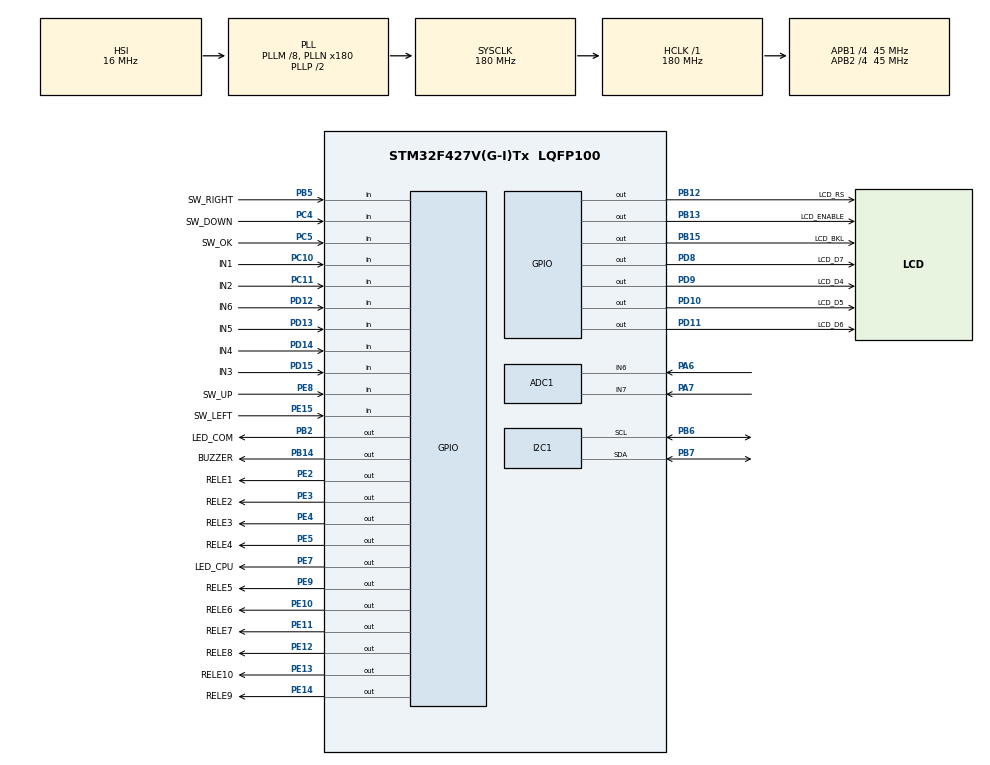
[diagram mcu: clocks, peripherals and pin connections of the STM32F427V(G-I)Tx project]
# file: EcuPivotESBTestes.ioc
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ADC1.Channel-0\#ChannelRegularConversion=ADC_CHANNEL_7
ADC1.ClockPrescaler=ADC_CLOCK_SYNC_PCLK_DIV8
ADC1.ContinuousConvMode=ENABLE
ADC1.DMAContinuousRequests=ENABLE
ADC1.NbrOfConversionFlag=1
ADC1.Rank-0\#ChannelRegularConversion=1
ADC1.SamplingTime-0\#ChannelRegularConversion=ADC_SAMPLETIME_3CYCLES
ADC1.ScanConvMode=ENABLE
ADC1.master=1
Dma.ADC1.0.Direction=DMA_PERIPH_TO_MEMORY
Dma.ADC1.0.FIFOMode=DMA_FIFOMODE_DISABLE
Dma.ADC1.0.Instance=DMA2_Stream0
Dma.ADC1.0.MemDataAlignment=DMA_MDATAALIGN_HALFWORD
Dma.ADC1.0.MemInc=DMA_MINC_ENABLE
Dma.ADC1.0.Mode=DMA_CIRCULAR
Dma.ADC1.0.PeriphDataAlignment=DMA_PDATAALIGN_HALFWORD
Dma.ADC1.0.PeriphInc=DMA_PINC_DISABLE
Dma.ADC1.0.Priority=DMA_PRIORITY_LOW
Dma.Request0=ADC1
IWDG.Prescaler=IWDG_PRESCALER_64
Mcu.Family=STM32F4
Mcu.Name=STM32F427V(G-I)Tx
Mcu.Package=LQFP100
NVIC.ADC_IRQn=true\:0\:0\:false\:false\:true\:true\:true\:true
NVIC.DMA2_Stream0_IRQn=true\:0\:0\:false\:false\:true\:false\:true\:true
NVIC.PriorityGroup=NVIC_PRIORITYGROUP_4
NVIC.TIM3_IRQn=true\:0\:0\:false\:false\:true\:true\:true\:true
PA13.Mode=Serial_Wire
PA13.Signal=SYS_JTMS-SWDIO
PA14.Mode=Serial_Wire
PA14.Signal=SYS_JTCK-SWCLK
PA6.Signal=ADCx_IN6
PA7.Signal=ADCx_IN7
PB12.GPIO_Label=LCD_RS
PB12.Signal=GPIO_Output
PB13.GPIO_Label=LCD_ENABLE
PB13.Signal=GPIO_Output
PB14.GPIO_Label=BUZZER
PB14.Signal=GPIO_Output
PB15.GPIO_Label=LCD_BKL
PB15.Signal=GPIO_Output
PB2/BOOT1.GPIO_Label=LED_COM
PB2/BOOT1.PinState=GPIO_PIN_SET
PB2/BOOT1.Signal=GPIO_Output
PB5.GPIO_Label=SW_RIGHT
PB5.GPIO_PuPd=GPIO_PULLUP
PB5.Signal=GPIO_Input
PB6.Mode=I2C
PB6.Signal=I2C1_SCL
PB7.Mode=I2C
PB7.Signal=I2C1_SDA
PC10.GPIO_Label=IN1
PC10.GPIO_PuPd=GPIO_PULLUP
PC10.Signal=GPIO_Input
PC11.GPIO_Label=IN2
PC11.GPIO_PuPd=GPIO_PULLUP
PC11.Signal=GPIO_Input
PC14/OSC32_IN.Mode=LSE-External-Oscillator
PC14/OSC32_IN.Signal=RCC_OSC32_IN
PC15/OSC32_OUT.Mode=LSE-External-Oscillator
PC15/OSC32_OUT.Signal=RCC_OSC32_OUT
PC4.GPIO_Label=SW_DOWN
PC4.GPIO_PuPd=GPIO_PULLUP
PC4.Signal=GPIO_Input
PC5.GPIO_Label=SW_OK
PC5.GPIO_PuPd=GPIO_PULLUP
PC5.Signal=GPIO_Input
PD10.GPIO_Label=LCD_D5
PD10.Signal=GPIO_Output
PD11.GPIO_Label=LCD_D6
PD11.Signal=GPIO_Output
PD12.GPIO_Label=IN6
PD12.GPIO_PuPd=GPIO_PULLUP
PD12.Signal=GPIO_Input
PD13.GPIO_Label=IN5
PD13.GPIO_PuPd=GPIO_PULLUP
PD13.Signal=GPIO_Input
PD14.GPIO_Label=IN4
PD14.GPIO_PuPd=GPIO_PULLUP
PD14.Signal=GPIO_Input
PD15.GPIO_Label=IN3
PD15.GPIO_PuPd=GPIO_PULLUP
PD15.Signal=GPIO_Input
PD8.GPIO_Label=LCD_D7
PD8.Signal=GPIO_Output
PD9.GPIO_Label=LCD_D4
PD9.Signal=GPIO_Output
PE10.GPIO_Label=RELE6
PE10.Signal=GPIO_Output
PE11.GPIO_Label=RELE7
PE11.Signal=GPIO_Output
PE12.GPIO_Label=RELE8
PE12.Signal=GPIO_Output
PE13.GPIO_Label=RELE10
PE13.Signal=GPIO_Output
PE14.GPIO_Label=RELE9
PE14.Signal=GPIO_Output
PE15.GPIO_Label=SW_LEFT
PE15.GPIO_PuPd=GPIO_PULLUP
PE15.Signal=GPIO_Input
PE2.GPIO_Label=RELE1
PE2.Signal=GPIO_Output
PE3.GPIO_Label=RELE2
PE3.Signal=GPIO_Output
PE4.GPIO_Label=RELE3
PE4.Signal=GPIO_Output
PE5.GPIO_Label=RELE4
PE5.Signal=GPIO_Output
PE7.GPIO_Label=LED_CPU
PE7.Signal=GPIO_Output
PE8.GPIO_Label=SW_UP
PE8.GPIO_PuPd=GPIO_PULLUP
PE8.Signal=GPIO_Input
PE9.GPIO_Label=RELE5
PE9.Signal=GPIO_Output
ProjectManager.HeapSize=0x200
ProjectManager.StackSize=0x400
ProjectManager.TargetToolchain=STM32CubeIDE
RCC.48MHZClocksFreq_Value=90000000
RCC.AHBFreq_Value=180000000
RCC.APB1CLKDivider=RCC_HCLK_DIV4
RCC.APB1Freq_Value=45000000
RCC.APB1TimFreq_Value=90000000
RCC.APB2CLKDivider=RCC_HCLK_DIV4
RCC.APB2Freq_Value=45000000
RCC.APB2TimFreq_Value=90000000
RCC.CortexFreq_Value=180000000
RCC.HCLKFreq_Value=180000000
RCC.HSE_VALUE=25000000
RCC.HSI_VALUE=16000000
RCC.PLLM=8
RCC.PLLN=180
RCC.SYSCLKFreq_VALUE=180000000
RCC.SYSCLKSource=RCC_SYSCLKSOURCE_PLLCLK
RCC.VCOOutputFreq_Value=360000000
RTC.Hours=12
RTC.Minutes=30
RTC.Month=RTC_MONTH_DECEMBER
RTC.Year=25
SH.ADCx_IN6.0=ADC1_IN6,IN6
SH.ADCx_IN7.0=ADC1_IN7,IN7
TIM2.Prescaler=90-1
TIM3.Period=10-1
TIM3.Prescaler=900-1
VP_IWDG_VS_IWDG.Mode=IWDG_Activate
VP_RTC_VS_RTC_Activate.Mode=RTC_Enabled
VP_RTC_VS_RTC_Calendar.Mode=RTC_Calendar
VP_TIM2_VS_ClockSourceINT.Mode=Internal
VP_TIM3_VS_ClockSourceINT.Mode=Internal
board=custom

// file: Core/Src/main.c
/* USER CODE BEGIN Header */
/**
  ******************************************************************************
  * @file           : main.c
  * @brief          : Main program body
  ******************************************************************************
  * @attention
  *
  * Copyright (c) 2025 STMicroelectronics.
  * All rights reserved.
  *
  * This software is licensed under terms that can be found in the LICENSE file
  * in the root directory of this software component.
  * If no LICENSE file comes with this software, it is provided AS-IS.
  *
  ******************************************************************************
  */
/* USER CODE END Header */
#include "main.h"

/* USER CODE BEGIN Includes */
#include "global.h"
/* USER CODE END Includes */

ADC_HandleTypeDef hadc1;
DMA_HandleTypeDef hdma_adc1;

I2C_HandleTypeDef hi2c1;

IWDG_HandleTypeDef hiwdg;

RTC_HandleTypeDef hrtc;

TIM_HandleTypeDef htim2;
TIM_HandleTypeDef htim3;

/* USER CODE BEGIN PV */
RTC_TimeTypeDef sTime;
RTC_DateTypeDef sDate;

uint8_t
	flagAtualizaLCD = false,
	flagBuzzer = false,
	flagLeituraAdc = false;

uint8_t
	botaoPressionado = SEM_BOTAO,
	releAcionado = 0;

uint16_t
	valorCorrente = 0;

uint8_t
	flagWhileIn[6];

uint16_t
	leituraAdc[2];
/* USER CODE END PV */

void SystemClock_Config(void);
static void MX_GPIO_Init(void);
static void MX_DMA_Init(void);
static void MX_I2C1_Init(void);
static void MX_IWDG_Init(void);
static void MX_RTC_Init(void);
static void MX_TIM2_Init(void);
static void MX_TIM3_Init(void);
static void MX_ADC1_Init(void);

/* USER CODE BEGIN 0 */
void HAL_ADC_ConvCpltCallback(ADC_HandleTypeDef* hadc) {
	if(hadc == &hadc1) {
		leituraTransdutorPressao();
	}
}

void HAL_TIM_PeriodElapsedCallback(TIM_HandleTypeDef *htim) {
	if(htim == &htim3) {
		schedulerEngine();
	}
}

void delayMicro(uint32_t tempo) {
	__HAL_TIM_SET_COUNTER(&htim2, 0);
	while(__HAL_TIM_GET_COUNTER(&htim2) < tempo) {
	}
}

void reiniciaWatchDog() {
	HAL_IWDG_Refresh(&hiwdg);
}

/* USER CODE END 0 */

int main(void)
{

  /* MCU Configuration--------------------------------------------------------*/

  /* Reset of all peripherals, Initializes the Flash interface and the Systick. */
  HAL_Init();

  /* Configure the system clock */
  SystemClock_Config();

  /* Initialize all configured peripherals */
  MX_GPIO_Init();
  MX_DMA_Init();
  MX_I2C1_Init();
  MX_IWDG_Init();
  MX_RTC_Init();
  MX_TIM2_Init();
  MX_TIM3_Init();
  MX_ADC1_Init();
  /* USER CODE BEGIN 2 */
  HAL_TIM_Base_Start(&htim2); //Timer do delay us
  HAL_TIM_Base_Start_IT(&htim3); //Timer do Scheduller
  HAL_ADC_Start_DMA(&hadc1, leituraAdc, 2); //Inicia o ADC1 pela DMA

  desligaTodosReles();
  inicializaLcd();

  telaInicial();

  verificaEeprom();

  /* USER CODE END 2 */

  /* Infinite loop */
  /* USER CODE BEGIN WHILE */
  while (1)
  {
	  if(flagAtualizaLCD) {
		  flagAtualizaLCD = false;
		  readRTC();
		  telaOperacao();
	  }

	  entradasDigitais();
	  subrotinasIHM();
	  acionamentoReles();
    /* USER CODE END WHILE */

  }
}

void SystemClock_Config(void)
{
  RCC_OscInitTypeDef RCC_OscInitStruct = {0};
  RCC_ClkInitTypeDef RCC_ClkInitStruct = {0};

  /** Configure the main internal regulator output voltage
  */
  __HAL_RCC_PWR_CLK_ENABLE();
  __HAL_PWR_VOLTAGESCALING_CONFIG(PWR_REGULATOR_VOLTAGE_SCALE1);

  /** Initializes the RCC Oscillators according to the specified parameters
  * in the RCC_OscInitTypeDef structure.
  */
  RCC_OscInitStruct.OscillatorType = RCC_OSCILLATORTYPE_HSI|RCC_OSCILLATORTYPE_LSI;
  RCC_OscInitStruct.HSIState = RCC_HSI_ON;
  RCC_OscInitStruct.HSICalibrationValue = RCC_HSICALIBRATION_DEFAULT;
  RCC_OscInitStruct.LSIState = RCC_LSI_ON;
  RCC_OscInitStruct.PLL.PLLState = RCC_PLL_ON;
  RCC_OscInitStruct.PLL.PLLSource = RCC_PLLSOURCE_HSI;
  RCC_OscInitStruct.PLL.PLLM = 8;
  RCC_OscInitStruct.PLL.PLLN = 180;
  RCC_OscInitStruct.PLL.PLLP = RCC_PLLP_DIV2;
  RCC_OscInitStruct.PLL.PLLQ = 4;
  if (HAL_RCC_OscConfig(&RCC_OscInitStruct) != HAL_OK)
  {
    Error_Handler();
  }

  /** Activate the Over-Drive mode
  */
  if (HAL_PWREx_EnableOverDrive() != HAL_OK)
  {
    Error_Handler();
  }

  /** Initializes the CPU, AHB and APB buses clocks
  */
  RCC_ClkInitStruct.ClockType = RCC_CLOCKTYPE_HCLK|RCC_CLOCKTYPE_SYSCLK
                              |RCC_CLOCKTYPE_PCLK1|RCC_CLOCKTYPE_PCLK2;
  RCC_ClkInitStruct.SYSCLKSource = RCC_SYSCLKSOURCE_PLLCLK;
  RCC_ClkInitStruct.AHBCLKDivider = RCC_SYSCLK_DIV1;
  RCC_ClkInitStruct.APB1CLKDivider = RCC_HCLK_DIV4;
  RCC_ClkInitStruct.APB2CLKDivider = RCC_HCLK_DIV4;

  if (HAL_RCC_ClockConfig(&RCC_ClkInitStruct, FLASH_LATENCY_5) != HAL_OK)
  {
    Error_Handler();
  }
}

static void MX_ADC1_Init(void)
{

  ADC_ChannelConfTypeDef sConfig = {0};

  /** Configure the global features of the ADC (Clock, Resolution, Data Alignment and number of conversion)
  */
  hadc1.Instance = ADC1;
  hadc1.Init.ClockPrescaler = ADC_CLOCK_SYNC_PCLK_DIV8;
  hadc1.Init.Resolution = ADC_RESOLUTION_12B;
  hadc1.Init.ScanConvMode = ENABLE;
  hadc1.Init.ContinuousConvMode = ENABLE;
  hadc1.Init.DiscontinuousConvMode = DISABLE;
  hadc1.Init.ExternalTrigConvEdge = ADC_EXTERNALTRIGCONVEDGE_NONE;
  hadc1.Init.ExternalTrigConv = ADC_SOFTWARE_START;
  hadc1.Init.DataAlign = ADC_DATAALIGN_RIGHT;
  hadc1.Init.NbrOfConversion = 1;
  hadc1.Init.DMAContinuousRequests = ENABLE;
  hadc1.Init.EOCSelection = ADC_EOC_SINGLE_CONV;
  if (HAL_ADC_Init(&hadc1) != HAL_OK)
  {
    Error_Handler();
  }

  /** Configure for the selected ADC regular channel its corresponding rank in the sequencer and its sample time.
  */
  sConfig.Channel = ADC_CHANNEL_7;
  sConfig.Rank = 1;
  sConfig.SamplingTime = ADC_SAMPLETIME_3CYCLES;
  if (HAL_ADC_ConfigChannel(&hadc1, &sConfig) != HAL_OK)
  {
    Error_Handler();
  }

}

static void MX_I2C1_Init(void)
{

  hi2c1.Instance = I2C1;
  hi2c1.Init.ClockSpeed = 100000;
  hi2c1.Init.DutyCycle = I2C_DUTYCYCLE_2;
  hi2c1.Init.OwnAddress1 = 0;
  hi2c1.Init.AddressingMode = I2C_ADDRESSINGMODE_7BIT;
  hi2c1.Init.DualAddressMode = I2C_DUALADDRESS_DISABLE;
  hi2c1.Init.OwnAddress2 = 0;
  hi2c1.Init.GeneralCallMode = I2C_GENERALCALL_DISABLE;
  hi2c1.Init.NoStretchMode = I2C_NOSTRETCH_DISABLE;
  if (HAL_I2C_Init(&hi2c1) != HAL_OK)
  {
    Error_Handler();
  }

  /** Configure Analogue filter
  */
  if (HAL_I2CEx_ConfigAnalogFilter(&hi2c1, I2C_ANALOGFILTER_ENABLE) != HAL_OK)
  {
    Error_Handler();
  }

  /** Configure Digital filter
  */
  if (HAL_I2CEx_ConfigDigitalFilter(&hi2c1, 0) != HAL_OK)
  {
    Error_Handler();
  }

}

static void MX_IWDG_Init(void)
{

  hiwdg.Instance = IWDG;
  hiwdg.Init.Prescaler = IWDG_PRESCALER_64;
  hiwdg.Init.Reload = 4095;
  if (HAL_IWDG_Init(&hiwdg) != HAL_OK)
  {
    Error_Handler();
  }

}

static void MX_RTC_Init(void)
{

  RTC_TimeTypeDef sTime = {0};
  RTC_DateTypeDef sDate = {0};

  /** Initialize RTC Only
  */
  hrtc.Instance = RTC;
  hrtc.Init.HourFormat = RTC_HOURFORMAT_24;
  hrtc.Init.AsynchPrediv = 127;
  hrtc.Init.SynchPrediv = 255;
  hrtc.Init.OutPut = RTC_OUTPUT_DISABLE;
  hrtc.Init.OutPutPolarity = RTC_OUTPUT_POLARITY_HIGH;
  hrtc.Init.OutPutType = RTC_OUTPUT_TYPE_OPENDRAIN;
  if (HAL_RTC_Init(&hrtc) != HAL_OK)
  {
    Error_Handler();
  }

  /** Initialize RTC and set the Time and Date
  */
  sTime.Hours = 0x12;
  sTime.Minutes = 0x30;
  sTime.Seconds = 0x0;
  sTime.DayLightSaving = RTC_DAYLIGHTSAVING_NONE;
  sTime.StoreOperation = RTC_STOREOPERATION_RESET;
  if (HAL_RTC_SetTime(&hrtc, &sTime, RTC_FORMAT_BCD) != HAL_OK)
  {
    Error_Handler();
  }
  sDate.WeekDay = RTC_WEEKDAY_MONDAY;
  sDate.Month = RTC_MONTH_DECEMBER;
  sDate.Date = 0x1;
  sDate.Year = 0x25;

  if (HAL_RTC_SetDate(&hrtc, &sDate, RTC_FORMAT_BCD) != HAL_OK)
  {
    Error_Handler();
  }

}

static void MX_TIM2_Init(void)
{

  TIM_ClockConfigTypeDef sClockSourceConfig = {0};
  TIM_MasterConfigTypeDef sMasterConfig = {0};

  htim2.Instance = TIM2;
  htim2.Init.Prescaler = 90-1;
  htim2.Init.CounterMode = TIM_COUNTERMODE_UP;
  htim2.Init.Period = 4294967295;
  htim2.Init.ClockDivision = TIM_CLOCKDIVISION_DIV1;
  htim2.Init.AutoReloadPreload = TIM_AUTORELOAD_PRELOAD_DISABLE;
  if (HAL_TIM_Base_Init(&htim2) != HAL_OK)
  {
    Error_Handler();
  }
  sClockSourceConfig.ClockSource = TIM_CLOCKSOURCE_INTERNAL;
  if (HAL_TIM_ConfigClockSource(&htim2, &sClockSourceConfig) != HAL_OK)
  {
    Error_Handler();
  }
  sMasterConfig.MasterOutputTrigger = TIM_TRGO_RESET;
  sMasterConfig.MasterSlaveMode = TIM_MASTERSLAVEMODE_DISABLE;
  if (HAL_TIMEx_MasterConfigSynchronization(&htim2, &sMasterConfig) != HAL_OK)
  {
    Error_Handler();
  }

}

static void MX_TIM3_Init(void)
{

  TIM_ClockConfigTypeDef sClockSourceConfig = {0};
  TIM_MasterConfigTypeDef sMasterConfig = {0};

  htim3.Instance = TIM3;
  htim3.Init.Prescaler = 900-1;
  htim3.Init.CounterMode = TIM_COUNTERMODE_UP;
  htim3.Init.Period = 10-1;
  htim3.Init.ClockDivision = TIM_CLOCKDIVISION_DIV1;
  htim3.Init.AutoReloadPreload = TIM_AUTORELOAD_PRELOAD_DISABLE;
  if (HAL_TIM_Base_Init(&htim3) != HAL_OK)
  {
    Error_Handler();
  }
  sClockSourceConfig.ClockSource = TIM_CLOCKSOURCE_INTERNAL;
  if (HAL_TIM_ConfigClockSource(&htim3, &sClockSourceConfig) != HAL_OK)
  {
    Error_Handler();
  }
  sMasterConfig.MasterOutputTrigger = TIM_TRGO_RESET;
  sMasterConfig.MasterSlaveMode = TIM_MASTERSLAVEMODE_DISABLE;
  if (HAL_TIMEx_MasterConfigSynchronization(&htim3, &sMasterConfig) != HAL_OK)
  {
    Error_Handler();
  }

}

static void MX_DMA_Init(void)
{

  /* DMA controller clock enable */
  __HAL_RCC_DMA2_CLK_ENABLE();

  /* DMA interrupt init */
  /* DMA2_Stream0_IRQn interrupt configuration */
  HAL_NVIC_SetPriority(DMA2_Stream0_IRQn, 0, 0);
  HAL_NVIC_EnableIRQ(DMA2_Stream0_IRQn);

}

static void MX_GPIO_Init(void)
{
  GPIO_InitTypeDef GPIO_InitStruct = {0};

  /* GPIO Ports Clock Enable */
  __HAL_RCC_GPIOE_CLK_ENABLE();
  __HAL_RCC_GPIOC_CLK_ENABLE();
  __HAL_RCC_GPIOA_CLK_ENABLE();
  __HAL_RCC_GPIOB_CLK_ENABLE();
  __HAL_RCC_GPIOD_CLK_ENABLE();

  /*Configure GPIO pin Output Level */
  HAL_GPIO_WritePin(GPIOE, RELE1_Pin|RELE2_Pin|RELE3_Pin|RELE4_Pin
                          |LED_CPU_Pin|RELE5_Pin|RELE6_Pin|RELE7_Pin
                          |RELE8_Pin|RELE10_Pin|RELE9_Pin, GPIO_PIN_RESET);

  /*Configure GPIO pin Output Level */
  HAL_GPIO_WritePin(LED_COM_GPIO_Port, LED_COM_Pin, GPIO_PIN_SET);

  /*Configure GPIO pin Output Level */
  HAL_GPIO_WritePin(GPIOB, LCD_RS_Pin|LCD_ENABLE_Pin|BUZZER_Pin|LCD_BKL_Pin, GPIO_PIN_RESET);

  /*Configure GPIO pin Output Level */
  HAL_GPIO_WritePin(GPIOD, LCD_D7_Pin|LCD_D4_Pin|LCD_D5_Pin|LCD_D6_Pin, GPIO_PIN_RESET);

  /*Configure GPIO pins : RELE1_Pin RELE2_Pin RELE3_Pin RELE4_Pin
                           LED_CPU_Pin RELE5_Pin RELE6_Pin RELE7_Pin
                           RELE8_Pin RELE10_Pin RELE9_Pin */
  GPIO_InitStruct.Pin = RELE1_Pin|RELE2_Pin|RELE3_Pin|RELE4_Pin
                          |LED_CPU_Pin|RELE5_Pin|RELE6_Pin|RELE7_Pin
                          |RELE8_Pin|RELE10_Pin|RELE9_Pin;
  GPIO_InitStruct.Mode = GPIO_MODE_OUTPUT_PP;
  GPIO_InitStruct.Pull = GPIO_NOPULL;
  GPIO_InitStruct.Speed = GPIO_SPEED_FREQ_LOW;
  HAL_GPIO_Init(GPIOE, &GPIO_InitStruct);

  /*Configure GPIO pins : SW_DOWN_Pin SW_OK_Pin IN1_Pin IN2_Pin */
  GPIO_InitStruct.Pin = SW_DOWN_Pin|SW_OK_Pin|IN1_Pin|IN2_Pin;
  GPIO_InitStruct.Mode = GPIO_MODE_INPUT;
  GPIO_InitStruct.Pull = GPIO_PULLUP;
  HAL_GPIO_Init(GPIOC, &GPIO_InitStruct);

  /*Configure GPIO pins : LED_COM_Pin LCD_RS_Pin LCD_ENABLE_Pin BUZZER_Pin
                           LCD_BKL_Pin */
  GPIO_InitStruct.Pin = LED_COM_Pin|LCD_RS_Pin|LCD_ENABLE_Pin|BUZZER_Pin
                          |LCD_BKL_Pin;
  GPIO_InitStruct.Mode = GPIO_MODE_OUTPUT_PP;
  GPIO_InitStruct.Pull = GPIO_NOPULL;
  GPIO_InitStruct.Speed = GPIO_SPEED_FREQ_LOW;
  HAL_GPIO_Init(GPIOB, &GPIO_InitStruct);

  /*Configure GPIO pins : SW_UP_Pin SW_LEFT_Pin */
  GPIO_InitStruct.Pin = SW_UP_Pin|SW_LEFT_Pin;
  GPIO_InitStruct.Mode = GPIO_MODE_INPUT;
  GPIO_InitStruct.Pull = GPIO_PULLUP;
  HAL_GPIO_Init(GPIOE, &GPIO_InitStruct);

  /*Configure GPIO pins : LCD_D7_Pin LCD_D4_Pin LCD_D5_Pin LCD_D6_Pin */
  GPIO_InitStruct.Pin = LCD_D7_Pin|LCD_D4_Pin|LCD_D5_Pin|LCD_D6_Pin;
  GPIO_InitStruct.Mode = GPIO_MODE_OUTPUT_PP;
  GPIO_InitStruct.Pull = GPIO_NOPULL;
  GPIO_InitStruct.Speed = GPIO_SPEED_FREQ_LOW;
  HAL_GPIO_Init(GPIOD, &GPIO_InitStruct);

  /*Configure GPIO pins : IN6_Pin IN5_Pin IN4_Pin IN3_Pin */
  GPIO_InitStruct.Pin = IN6_Pin|IN5_Pin|IN4_Pin|IN3_Pin;
  GPIO_InitStruct.Mode = GPIO_MODE_INPUT;
  GPIO_InitStruct.Pull = GPIO_PULLUP;
  HAL_GPIO_Init(GPIOD, &GPIO_InitStruct);

  /*Configure GPIO pin : SW_RIGHT_Pin */
  GPIO_InitStruct.Pin = SW_RIGHT_Pin;
  GPIO_InitStruct.Mode = GPIO_MODE_INPUT;
  GPIO_InitStruct.Pull = GPIO_PULLUP;
  HAL_GPIO_Init(SW_RIGHT_GPIO_Port, &GPIO_InitStruct);

}

void Error_Handler(void)
{
  __disable_irq();
  while (1)
  {
  }
}
